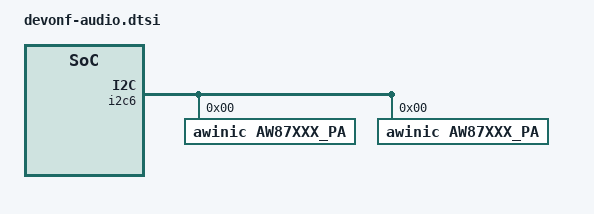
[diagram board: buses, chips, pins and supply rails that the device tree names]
/*
 * Copyright (c) 2021 MediaTek Inc.
 *
 * This program is free software; you can redistribute it and/or modify
 * it under the terms of the GNU General Public License version 2 as
 * published by the Free Software Foundation.
 *
 * This program is distributed in the hope that it will be useful,
 * but WITHOUT ANY WARRANTY; without even the implied warranty of
 * MERCHANTABILITY or FITNESS FOR A PARTICULAR PURPOSE.  See the
 * GNU General Public License for more details.
 */

&i2c6 {
	spk: speaker_amp@5c {
		compatible = "richtek,rt5512";
		#sound-dai-cells = <0>;
		reg = <0 0x5c 0 0x1>;
		sound-name-prefix = "Left";
		status ="disable";
	};

	aw87xxx_pa@58 {
		compatible = "awinic,aw87xxx_pa";
		reg = <0 0x58 0 0x1>;

		dev_index = < 0 >;
		status = "okay";
	};

	aw87xxx_pa@59 {
		compatible = "awinic,aw87xxx_pa";
		reg = <0 0x59 0 0x1>;

		dev_index = < 1 >;
		status = "okay";
	};
};
